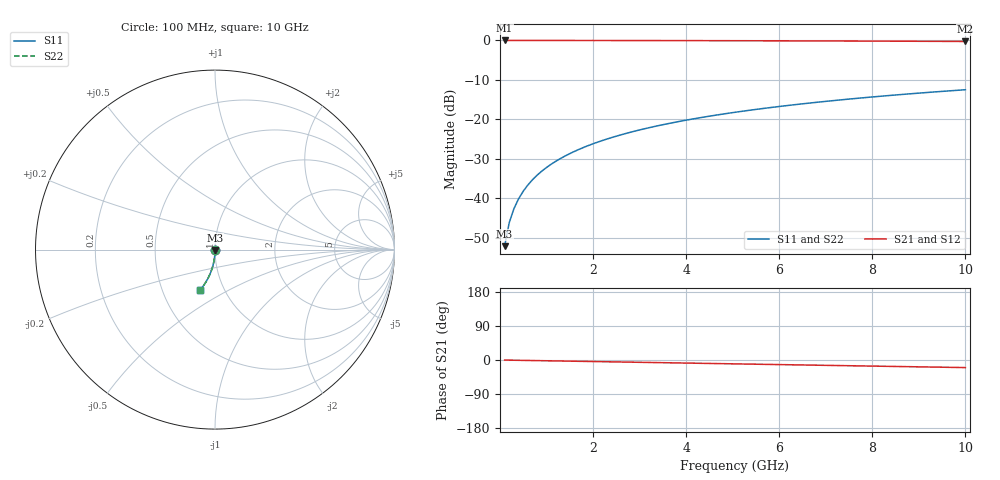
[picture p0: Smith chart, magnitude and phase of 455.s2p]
# Hz S RI R 50.00
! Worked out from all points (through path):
!   100 points, 100 MHz to 10 GHz, reference 50 ohm
!   highest |S21| = 0.00 dB at 100 MHz (marker M1); lowest = -0.3 dB at 10 GHz (marker M2)
!   group delay of S21, straight-line fit = 5.57 ps
!   lowest |S11| = -52.2 dB at 100 MHz (marker M3), VSWR 1.00, Z = 50 - j0.245 ohm
!   |S11| at or under -10 dB: start of sweep to end of sweep
!   |S22| runs from -52.2 to -12.5 dB; largest |S21 - S12| = 0
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1e8  0.000221 -0.00245  0.9998 -0.00353  0.9998 -0.00353  0.000221 -0.00245
2e8  0.000193 -0.00489  0.9997 -0.00706  0.9997 -0.00706  0.000193 -0.00489
3e8  0.000149 -0.00734  0.9997 -0.0106  0.9997 -0.0106  0.000149 -0.00734
4e8  8.62e-05 -0.00978  0.9996 -0.0141  0.9996 -0.0141  8.62e-05 -0.00978
5e8  6.34e-06 -0.0122  0.9995 -0.0177  0.9995 -0.0177  6.34e-06 -0.0122
6e8  -9.08e-05 -0.0147  0.9994 -0.0212  0.9994 -0.0212  -9.08e-05 -0.0147
7e8  -0.000205 -0.0171  0.9993 -0.0247  0.9993 -0.0247  -0.000205 -0.0171
8e8  -0.000337 -0.0196  0.9991 -0.0282  0.9991 -0.0282  -0.000337 -0.0196
9e8  -0.000486 -0.022  0.999 -0.0318  0.999 -0.0318  -0.000486 -0.022
1.1e9  -0.000836 -0.0269  0.9986 -0.0388  0.9986 -0.0388  -0.000836 -0.0269
1.4e9  -0.00149 -0.0342  0.9979 -0.0494  0.9979 -0.0494  -0.00149 -0.0342
1.8e9  -0.0026 -0.0439  0.9967 -0.0635  0.9967 -0.0635  -0.0026 -0.0439
2.1e9  -0.00362 -0.0512  0.9956 -0.074  0.9956 -0.074  -0.00362 -0.0512
2.5e9  -0.00521 -0.0608  0.9939 -0.088  0.9939 -0.088  -0.00521 -0.0608
2.9e9  -0.00707 -0.0704  0.9919 -0.102  0.9919 -0.102  -0.00707 -0.0704
3.4e9  -0.00978 -0.0823  0.989 -0.1193  0.989 -0.1193  -0.00978 -0.0823
4.2e9  -0.015 -0.1012  0.9835 -0.1468  0.9835 -0.1468  -0.015 -0.1012
5.1e9  -0.022 -0.1219  0.9759 -0.1774  0.9759 -0.1774  -0.022 -0.1219
5.9e9  -0.0294 -0.1398  0.968 -0.2041  0.968 -0.2041  -0.0294 -0.1398
6.7e9  -0.0377 -0.1573  0.9591 -0.2304  0.9591 -0.2304  -0.0377 -0.1573
8.4e9  -0.0583 -0.1924  0.9369 -0.2842  0.9369 -0.2842  -0.0583 -0.1924
1e10  -0.0811 -0.2226  0.9123 -0.3322  0.9123 -0.3322  -0.0811 -0.2226
